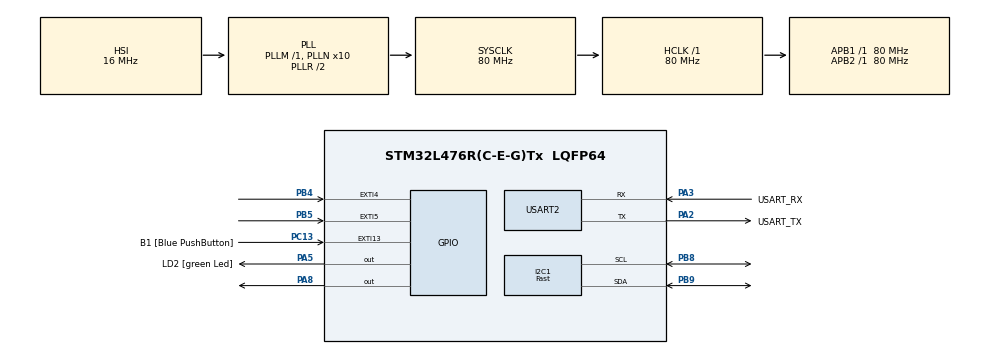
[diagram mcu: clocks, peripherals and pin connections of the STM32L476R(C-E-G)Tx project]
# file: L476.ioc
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I2C1.I2C_Speed_Mode=I2C_Fast
I2C1.Timing=0x00702991
Mcu.Family=STM32L4
Mcu.Name=STM32L476R(C-E-G)Tx
Mcu.Package=LQFP64
NVIC.EXTI4_IRQn=true\:0\:0\:false\:false\:true\:true\:true\:true
NVIC.EXTI9_5_IRQn=true\:0\:0\:false\:false\:true\:true\:true\:true
NVIC.PriorityGroup=NVIC_PRIORITYGROUP_4
PA13\ (JTMS-SWDIO).GPIO_Label=TMS
PA13\ (JTMS-SWDIO).Signal=SYS_JTMS-SWDIO
PA14\ (JTCK-SWCLK).GPIO_Label=TCK
PA14\ (JTCK-SWCLK).Signal=SYS_JTCK-SWCLK
PA2.GPIO_Label=USART_TX
PA2.GPIO_Mode=GPIO_MODE_AF_PP
PA2.GPIO_PuPd=GPIO_NOPULL
PA2.GPIO_Speed=GPIO_SPEED_FREQ_VERY_HIGH
PA2.Mode=Asynchronous
PA2.Signal=USART2_TX
PA3.GPIO_Label=USART_RX
PA3.GPIO_Mode=GPIO_MODE_AF_PP
PA3.GPIO_PuPd=GPIO_NOPULL
PA3.GPIO_Speed=GPIO_SPEED_FREQ_VERY_HIGH
PA3.Mode=Asynchronous
PA3.Signal=USART2_RX
PA5.GPIO_Label=LD2 [green Led]
PA5.GPIO_ModeDefaultOutputPP=GPIO_MODE_OUTPUT_PP
PA5.GPIO_PuPd=GPIO_NOPULL
PA5.GPIO_Speed=GPIO_SPEED_FREQ_LOW
PA5.Signal=GPIO_Output
PA8.Signal=GPIO_Output
PB3\ (JTDO-TRACESWO).GPIO_Label=SWO
PB3\ (JTDO-TRACESWO).Signal=SYS_JTDO-SWO
PB4\ (NJTRST).Signal=GPXTI4
PB5.Signal=GPXTI5
PB8.GPIO_FM8=__NULL
PB8.Mode=I2C
PB8.Signal=I2C1_SCL
PB9.GPIO_FM9=__NULL
PB9.Mode=I2C
PB9.Signal=I2C1_SDA
PC13.GPIO_Label=B1 [Blue PushButton]
PC13.GPIO_ModeDefaultEXTI=GPIO_MODE_IT_FALLING
PC13.GPIO_PuPd=GPIO_NOPULL
PC13.Signal=GPXTI13
PC14-OSC32_IN\ (PC14).Signal=RCC_OSC32_IN
PC15-OSC32_OUT\ (PC15).Signal=RCC_OSC32_OUT
PH0-OSC_IN\ (PH0).Mode=HSE-External-Clock-Source
PH0-OSC_IN\ (PH0).Signal=RCC_OSC_IN
PH1-OSC_OUT\ (PH1).Signal=RCC_OSC_OUT
ProjectManager.HeapSize=0x200
ProjectManager.StackSize=0x400
ProjectManager.TargetToolchain=STM32CubeIDE
RCC.ADCFreq_Value=64000000
RCC.AHBFreq_Value=80000000
RCC.APB1Freq_Value=80000000
RCC.APB1TimFreq_Value=80000000
RCC.APB2Freq_Value=80000000
RCC.APB2TimFreq_Value=80000000
RCC.CortexFreq_Value=80000000
RCC.HCLKFreq_Value=80000000
RCC.HSE_VALUE=8000000
RCC.HSI_VALUE=16000000
RCC.LSE_VALUE=32768
RCC.MSI_VALUE=4000000
RCC.PLLN=10
RCC.PLLSourceVirtual=RCC_PLLSOURCE_HSI
RCC.PREFETCH_ENABLE=1
RCC.SYSCLKFreq_VALUE=80000000
RCC.SYSCLKSource=RCC_SYSCLKSOURCE_PLLCLK
RCC.USBFreq_Value=64000000
RCC.VCOOutputFreq_Value=160000000
USART2.VirtualMode-Asynchronous=VM_ASYNC
board=NUCLEO-L476RG

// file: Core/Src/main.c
/* USER CODE BEGIN Header */
/**
 ******************************************************************************
 * @file           : main.c
 * @brief          : Main program body
 ******************************************************************************
 * @attention
 *
 * <h2><center>&copy; Copyright (c) 2021 STMicroelectronics.
 * All rights reserved.</center></h2>
 *
 * This software component is licensed by ST under BSD 3-Clause license,
 * the "License"; You may not use this file except in compliance with the
 * License. You may obtain a copy of the License at:
 *                        opensource.org/licenses/BSD-3-Clause
 *
 ******************************************************************************
 */
/* USER CODE END Header */
#include "main.h"

/* USER CODE BEGIN Includes */
#include <stdio.h>
#include <math.h>

#include "iks01a2.h"
#include "can.h"
#include "scheduler.h"
#include "globalvar.h"
#include <gnss_nmea_parser.h>
#include <gnss_ubx_parser.h>

/* USER CODE END Includes */

I2C_HandleTypeDef hi2c1;

UART_HandleTypeDef huart2;

/* USER CODE BEGIN PV */

extern CAN_HandleTypeDef hcan;

int imuInit = 0;

uint8_t rxBufferGNSS; 	//Buffer to store data received from UART
char nmeaFrame[200];	//Frame received from UART
int nmeaFrameValid = 0;
int ubxFrameValid = 0;

struct UbxFrame rxUbxFrame;
struct UbxFrame ubxFrame;
int ubxSync1Received = 0;
int ubxReceivePayload = 0;
int processUbxFrame = 0;
int rx_index_ubx = 0;

/* USER CODE END PV */

void SystemClock_Config(void);
static void MX_GPIO_Init(void);
static void MX_I2C1_Init(void);
static void MX_USART2_UART_Init(void);
/* USER CODE BEGIN PFP */
void CAN_FIFO_0_Callback(CAN_RxHeaderTypeDef *rxHeader, uint8_t data[]);
/* USER CODE END PFP */

int main(void)
{

	/* MCU Configuration--------------------------------------------------------*/

	/* Reset of all peripherals, Initializes the Flash interface and the Systick. */
	HAL_Init();

	/* Configure the system clock */
	SystemClock_Config();

	/* Initialize all configured peripherals */
	MX_GPIO_Init();
	MX_I2C1_Init();
	MX_USART2_UART_Init();
	/* USER CODE BEGIN 2 */

	/* Initialization of IKS01A2 sensors */
	if (IKS01A2_Init()) {
		imuInit = 1; // IMU initialize correctly
	}

	/* Initialization of CAN */
	/* Todo: activate it when a driver is connected
	 * otherwise, it is flooding system with interrupt
	 */
	CAN_Init();
	CAN_AddRXCallback(CAN_FIFO_0_Callback);

	/* Various initializations */
	GLOBVAR_Init();
	SCHEDULER_Init();
	SCHEDULER_Run();
	/* USER CODE END 2 */

	/* Infinite loop */
	while (1)
	{

	}
	/* USER CODE END 3 */
}

void SystemClock_Config(void)
{
	RCC_OscInitTypeDef RCC_OscInitStruct = {0};
	RCC_ClkInitTypeDef RCC_ClkInitStruct = {0};

	/** Configure the main internal regulator output voltage
	 */
	if (HAL_PWREx_ControlVoltageScaling(PWR_REGULATOR_VOLTAGE_SCALE1) != HAL_OK)
	{
		Error_Handler();
	}
	/** Initializes the RCC Oscillators according to the specified parameters
	 * in the RCC_OscInitTypeDef structure.
	 */
	RCC_OscInitStruct.OscillatorType = RCC_OSCILLATORTYPE_HSI;
	RCC_OscInitStruct.HSIState = RCC_HSI_ON;
	RCC_OscInitStruct.HSICalibrationValue = RCC_HSICALIBRATION_DEFAULT;
	RCC_OscInitStruct.PLL.PLLState = RCC_PLL_ON;
	RCC_OscInitStruct.PLL.PLLSource = RCC_PLLSOURCE_HSI;
	RCC_OscInitStruct.PLL.PLLM = 1;
	RCC_OscInitStruct.PLL.PLLN = 10;
	RCC_OscInitStruct.PLL.PLLP = RCC_PLLP_DIV7;
	RCC_OscInitStruct.PLL.PLLQ = RCC_PLLQ_DIV2;
	RCC_OscInitStruct.PLL.PLLR = RCC_PLLR_DIV2;
	if (HAL_RCC_OscConfig(&RCC_OscInitStruct) != HAL_OK)
	{
		Error_Handler();
	}
	/** Initializes the CPU, AHB and APB buses clocks
	 */
	RCC_ClkInitStruct.ClockType = RCC_CLOCKTYPE_HCLK|RCC_CLOCKTYPE_SYSCLK
			|RCC_CLOCKTYPE_PCLK1|RCC_CLOCKTYPE_PCLK2;
	RCC_ClkInitStruct.SYSCLKSource = RCC_SYSCLKSOURCE_PLLCLK;
	RCC_ClkInitStruct.AHBCLKDivider = RCC_SYSCLK_DIV1;
	RCC_ClkInitStruct.APB1CLKDivider = RCC_HCLK_DIV1;
	RCC_ClkInitStruct.APB2CLKDivider = RCC_HCLK_DIV1;

	if (HAL_RCC_ClockConfig(&RCC_ClkInitStruct, FLASH_LATENCY_4) != HAL_OK)
	{
		Error_Handler();
	}
}

static void MX_I2C1_Init(void)
{

	hi2c1.Instance = I2C1;
	hi2c1.Init.Timing = 0x00702991;
	hi2c1.Init.OwnAddress1 = 0;
	hi2c1.Init.AddressingMode = I2C_ADDRESSINGMODE_7BIT;
	hi2c1.Init.DualAddressMode = I2C_DUALADDRESS_DISABLE;
	hi2c1.Init.OwnAddress2 = 0;
	hi2c1.Init.OwnAddress2Masks = I2C_OA2_NOMASK;
	hi2c1.Init.GeneralCallMode = I2C_GENERALCALL_DISABLE;
	hi2c1.Init.NoStretchMode = I2C_NOSTRETCH_DISABLE;
	if (HAL_I2C_Init(&hi2c1) != HAL_OK)
	{
		Error_Handler();
	}
	/** Configure Analog filter
	 */
	if (HAL_I2CEx_ConfigAnalogFilter(&hi2c1, I2C_ANALOGFILTER_ENABLE) != HAL_OK)
	{
		Error_Handler();
	}
	/** Configure Digital filter
	 */
	if (HAL_I2CEx_ConfigDigitalFilter(&hi2c1, 0) != HAL_OK)
	{
		Error_Handler();
	}

}

static void MX_USART2_UART_Init(void)
{

  huart2.Instance = USART2;
  huart2.Init.BaudRate = 115200;
  huart2.Init.WordLength = UART_WORDLENGTH_8B;
  huart2.Init.StopBits = UART_STOPBITS_1;
  huart2.Init.Parity = UART_PARITY_NONE;
  huart2.Init.Mode = UART_MODE_TX_RX;
  huart2.Init.HwFlowCtl = UART_HWCONTROL_NONE;
  huart2.Init.OverSampling = UART_OVERSAMPLING_16;
  huart2.Init.OneBitSampling = UART_ONE_BIT_SAMPLE_DISABLE;
  huart2.AdvancedInit.AdvFeatureInit = UART_ADVFEATURE_NO_INIT;
  if (HAL_UART_Init(&huart2) != HAL_OK)
  {
    Error_Handler();
  }
  /* USER CODE BEGIN USART2_Init 2 */
  HAL_UART_Receive_IT(&huart2, &rxBufferGNSS, 1);
  /* USER CODE END USART2_Init 2 */

}

void HAL_UART_RxCpltCallback(UART_HandleTypeDef *huart)
{
    if (huart -> Instance == USART2)
    {
    	if (processUbxFrame){	//Decoding UBX frame

    		if (rx_index_ubx == 2) {
    			rxUbxFrame.class = rxBufferGNSS;
    			rx_index_ubx++;
    		}
    		else if (rx_index_ubx == 3){
    			rxUbxFrame.id = rxBufferGNSS;
    			rx_index_ubx++;
    		}
    		else if (rx_index_ubx == 4){

    		    rxUbxFrame.length = rxBufferGNSS;
    		    rx_index_ubx++;
    		}else if (rx_index_ubx == 5){

    		    rxUbxFrame.length = (rxBufferGNSS << 8) + rxUbxFrame.length;
    		    if (rxUbxFrame.length != UBX_PAYLOAD_LENGTH){
    		    	processUbxFrame = 0;
    		    }
    		    rx_index_ubx++;

    		}else if (rx_index_ubx>=6 && (rx_index_ubx < 6 + rxUbxFrame.length)){	//Payload
    			rxUbxFrame.payload[rx_index_ubx - 6] = rxBufferGNSS;
    			rx_index_ubx++;

    		}else if (rx_index_ubx == 6 + rxUbxFrame.length){
    			rxUbxFrame.checksumA = rxBufferGNSS;
    			rx_index_ubx++;

    		}else if (rx_index_ubx == 7 + rxUbxFrame.length){
    			rxUbxFrame.checksumB = rxBufferGNSS;
    			rx_index_ubx = 0;
    			processUbxFrame = 0;	//End of UBX frame

    			if (rxUbxFrame.class == 0x1 && rxUbxFrame.id==0x7){ //Check if UBX-NAV-PVT frame

    				//Testing checksum
    				uint8_t  checksumData[rxUbxFrame.length + 4];
    				uint8_t cka, ckb;

    				checksumData[0] = rxUbxFrame.class;
    				checksumData[1] = rxUbxFrame.id;
    				checksumData[2] = rxUbxFrame.length;
    				checksumData[3] = rxUbxFrame.length >> 8;

    				for (int i = 4; i<= 3 + rxUbxFrame.length; i++){
    					checksumData[i] = (uint8_t)rxUbxFrame.payload[i-4];
    				}

    				UBX_Fletcher_Checksum (checksumData,4 + rxUbxFrame.length, &cka, &ckb);
    				if (cka == rxUbxFrame.checksumA && ckb == rxUbxFrame.checksumB){

    					ubxFrame = rxUbxFrame;	//Copy "dynamic" frame to "static" frame
    					ubxFrameValid = 1;
    				}
    			}

    		}

    	}else {	//Decoding NMEA frame

			static char rx_buffer[LINEMAX];   // Local holding buffer to build line
			static int rx_index = 0;

			if ((rxBufferGNSS == '\r') || (rxBufferGNSS == '\n')) // Is this an end-of-line condition, either will suffice?
			{
			  if (rx_index != 0) // Line has some content
			  {
				memcpy((void *)nmeaFrame, rx_buffer, rx_index); // Copy to static line buffer from dynamic receive buffer
				nmeaFrame[rx_index] = 0; // Add terminating NUL
				nmeaFrameValid = 1; // flag new line valid for processing

				rx_index = 0; // Reset content pointer
			  }
			}
			else
			{
			  if ((rxBufferGNSS == '$') || (rx_index == LINEMAX)) // If resync or overflows pull back to start
				rx_index = 0;

			  rx_buffer[rx_index++] = rxBufferGNSS; // Copy to buffer and increment
			}
    	}

    	//Check if UBX frame is received
    	if (rxBufferGNSS == UBX_SYNC_CHAR2 && ubxSync1Received){

    		rxUbxFrame.syncChar1 = UBX_SYNC_CHAR1;
    		rxUbxFrame.syncChar2 = UBX_SYNC_CHAR2;
			processUbxFrame = 1;	//We are receiving a UBX frame
			rx_index_ubx=2;
			ubxSync1Received = 0;
		}

		if (rxBufferGNSS == UBX_SYNC_CHAR1){
			ubxSync1Received = 1;
		}

    	HAL_UART_Receive_IT(&huart2, &rxBufferGNSS, 1);
    }
}

static void MX_GPIO_Init(void)
{
	GPIO_InitTypeDef GPIO_InitStruct = {0};

	/* GPIO Ports Clock Enable */
	__HAL_RCC_GPIOC_CLK_ENABLE();
	__HAL_RCC_GPIOH_CLK_ENABLE();
	__HAL_RCC_GPIOA_CLK_ENABLE();
	__HAL_RCC_GPIOB_CLK_ENABLE();

	/*Configure GPIO pin Output Level */
	HAL_GPIO_WritePin(GPIOA, LD2_Pin|GPIO_PIN_8, GPIO_PIN_RESET);

	/*Configure GPIO pin : B1_Pin */
	GPIO_InitStruct.Pin = B1_Pin;
	GPIO_InitStruct.Mode = GPIO_MODE_IT_FALLING;
	GPIO_InitStruct.Pull = GPIO_NOPULL;
	HAL_GPIO_Init(B1_GPIO_Port, &GPIO_InitStruct);

	/*Configure GPIO pins : LD2_Pin PA8 */
	GPIO_InitStruct.Pin = LD2_Pin|GPIO_PIN_8;
	GPIO_InitStruct.Mode = GPIO_MODE_OUTPUT_PP;
	GPIO_InitStruct.Pull = GPIO_NOPULL;
	GPIO_InitStruct.Speed = GPIO_SPEED_FREQ_LOW;
	HAL_GPIO_Init(GPIOA, &GPIO_InitStruct);

	/*Configure GPIO pins : PB4 PB5 */
	GPIO_InitStruct.Pin = GPIO_PIN_4|GPIO_PIN_5;
	GPIO_InitStruct.Mode = GPIO_MODE_IT_RISING;
	GPIO_InitStruct.Pull = GPIO_NOPULL;
	HAL_GPIO_Init(GPIOB, &GPIO_InitStruct);

	/* EXTI interrupt init*/
	HAL_NVIC_SetPriority(EXTI4_IRQn, 0, 0);
	HAL_NVIC_EnableIRQ(EXTI4_IRQn);

	HAL_NVIC_SetPriority(EXTI9_5_IRQn, 0, 0);
	HAL_NVIC_EnableIRQ(EXTI9_5_IRQn);

}

/* USER CODE BEGIN 4 */
void CAN_FIFO_0_Callback(CAN_RxHeaderTypeDef *rxHeader, uint8_t data[])
{

}
/* USER CODE END 4 */

void Error_Handler(void)
{
	__disable_irq();
	while (1)
	{
	}
}

/************************ (C) COPYRIGHT STMicroelectronics *****END OF FILE****/
